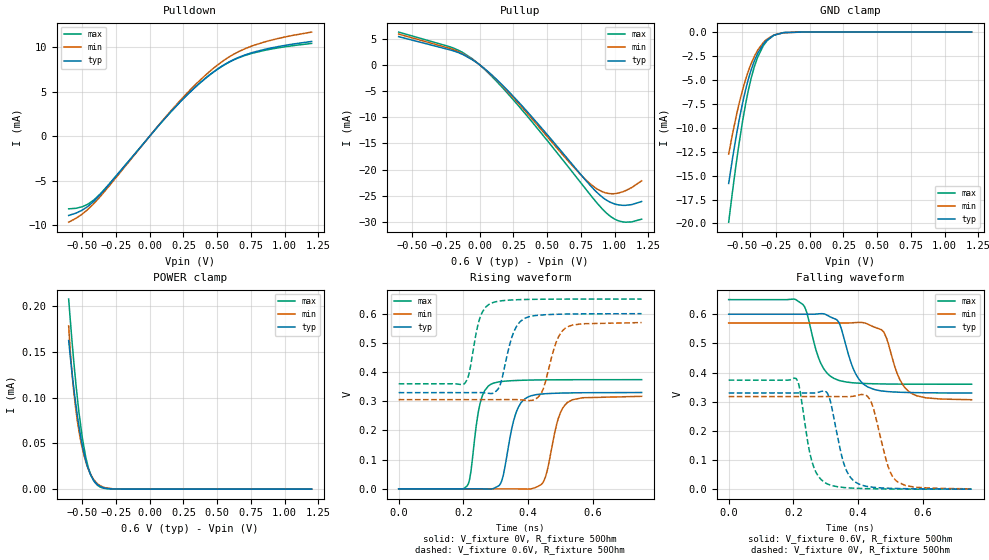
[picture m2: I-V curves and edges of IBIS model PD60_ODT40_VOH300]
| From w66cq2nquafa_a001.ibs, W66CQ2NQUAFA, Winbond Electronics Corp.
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[Model]   PD60_ODT40_VOH300
Model_type   I/O
Polarity   Non-Inverting
Enable   Active-Low
Vinl = 0.08
Vinh = 0.22
Vmeas = 0.15
Vref = 0
Cref = 0pF
Rref = 40
|   typ   min   max
C_comp   0.85pF   0.80pF   0.90pF
[Voltage Range]   0.6   0.57   0.65
[Temperature Range]   25   95   -40
[Pullup Reference]   0.6   0.57   0.65
[Pulldown Reference]   0   0   0
[Power Clamp Reference]   0.6   0.57   0.65
[GND Clamp Reference]   0   0   0
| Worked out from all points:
|   slope of the pulldown table from 0 to 0.09 V, typ, clamps not added: 56.1 ohm
|   slope of the pullup table from 0 to 0.09 V, typ, clamps not added: 46.4 ohm
|   GND clamp passes 1 mA (typ) near -0.33 V on its own axis
|   falling waveform, V_fixture 0.6V, R_fixture 50Ohm: 20-80 % time 49.4ps typ, 49.3ps min, 46.6ps max; typ from 0.6 V to 0.33 V
|   rising waveform, V_fixture 0V, R_fixture 50Ohm: 20-80 % time 37.1ps typ, 38.2ps min, 28.2ps max; typ from 0 V to 0.33 V
|   rising waveform, V_fixture 0.6V, R_fixture 50Ohm: 20-80 % time 38.5ps typ, 40.9ps min, 31.6ps max; typ from 0.33 V to 0.6 V
|   falling waveform, V_fixture 0V, R_fixture 50Ohm: 20-80 % time 41.6ps typ, 44.5ps min, 37.4ps max; typ from 0.33 V to 0 V
[Pulldown]
|   Voltage   I(typ)   I(min)   I(max)
-600mV    -8.908mA   -9.665mA   -8.165mA
-498.6mV  -8.298mA   -8.738mA   -7.921mA
-455.7mV  -7.864mA   -8.195mA   -7.621mA
-409.8mV  -7.258mA   -7.511mA   -7.12mA
-299mV    -5.412mA   -5.579mA   -5.357mA
156mV     2.728mA    2.824mA    2.722mA
332.7mV   5.45mA     5.701mA    5.432mA
502.4mV   7.547mA    7.991mA    7.516mA
621.5mV   8.603mA    9.202mA    8.562mA
771.5mV   9.446mA    10.21mA    9.365mA
954mV     10.08mA    10.99mA    9.934mA
1.2V      10.65mA    11.7mA     10.43mA
[GND Clamp]
|   Voltage   I(typ)   I(min)   I(max)
-600mV    -15.82mA   -12.76mA   -19.87mA
-545.4mV  -10.99mA   -8.878mA   -13.87mA
-498mV    -7.488mA   -6.099mA   -9.397mA
-473.9mV  -5.994mA   -4.923mA   -7.467mA
-433.6mV  -3.96mA    -3.309mA   -4.825mA
-388.1mV  -2.324mA   -1.964mA   -2.725mA
-343.9mV  -1.284mA   -1.115mA   -1.434mA
-314.6mV  -817.7uA   -726.3uA   -883uA
-267.6mV  -337.3uA   -326.2uA   -356.5uA
-196.3mV  -70.97uA   -82.38uA   -56.49uA
-59.4mV   -1.421uA   -3.113uA   -404nA
1.2V      0A         0A         0A
[Pullup]
|   Voltage   I(typ)   I(min)   I(max)
-600mV    5.379mA    5.87mA     6.249mA
-196.3mV  2.676mA    2.911mA    3.222mA
-120.6mV  1.917mA    2.041mA    2.273mA
-2mV      37.1uA     37.93uA    45.13uA
123mV     -2.729mA   -2.841mA   -3.089mA
294.4mV   -7.285mA   -7.554mA   -8.028mA
745.2mV   -20.83mA   -20.9mA    -22.39mA
871.2mV   -24.43mA   -23.74mA   -26.45mA
953.4mV   -26.06mA   -24.57mA   -28.63mA
1.028V    -26.76mA   -24.49mA   -29.8mA
1.124V    -26.71mA   -23.49mA   -30.01mA
1.2V      -26.11mA   -22.16mA   -29.49mA
[POWER Clamp]
|   Voltage   I(typ)   I(min)   I(max)
-600mV    162.4uA    178.3uA    207.7uA
-579.8mV  133.5uA    134.9uA    169.9uA
-562.4mV  110.8uA    106.7uA    139.9uA
-536.7mV  81.73uA    75.66uA    101.4uA
-524.6mV  69.52uA    64.23uA    84.83uA
-498.6mV  47.67uA    44.41uA    55.86uA
-474.6mV  32uA       30.7uA     35.76uA
-455.7mV  22.7uA     22.54uA    24.16uA
-433mV    14.46uA    15.08uA    14.4uA
-388.1mV  5.264uA    6.043uA    4.414uA
-262.6mV  101.8nA    259nA      11.93nA
1.2V      0A         0A         0A
[Ramp]
R_load = 50
|   typ   min   max
dV/dt_r 1.9798E-01/3.6909E-11   1.9011E-01/3.8165E-11   2.2434E-01/2.8200E-11
dV/dt_f 1.6214E-01/4.9384E-11   1.5799E-01/4.9201E-11   1.7410E-01/4.6618E-11
[Falling Waveform]
V_fixture = 0.6V
V_fixture_min = 0.57V
V_fixture_max = 0.65V
R_fixture = 50Ohm
C_fixture = 0F
|   Time   V(typ)   V(min)   V(max)
0s        600mV      570mV      650mV
229ps     600mV      570mV      633.3mV
285ps     601.8mV    570mV      430.2mV
331ps     582.6mV    570mV      377mV
384ps     414.9mV    570.7mV    364.7mV
421ps     356.4mV    569.8mV    362.3mV
478ps     336.2mV    539.9mV    360.8mV
520ps     332.8mV    397.2mV    360.3mV
556ps     331.5mV    335.1mV    360.1mV
750ps     329.8mV    306.7mV    359.8mV
[Rising Waveform]
V_fixture = 0V
V_fixture_min = 0V
V_fixture_max = 0V
R_fixture = 50Ohm
C_fixture = 0F
|   Time   V(typ)   V(min)   V(max)
0s        5.397uV    17.78uV    1.065uV
211ps     3.899uV    17.78uV    9.963mV
251ps     44.58uV    17.89uV    291.1mV
286ps     -507.6uV   16.9uV     359mV
318ps     26.79mV    19.77uV    367.7mV
354ps     229.7mV    57.66uV    370.7mV
391ps     309.4mV    -621.1uV   372.2mV
447ps     325.3mV    24.42mV    373.2mV
520ps     328.4mV    294.9mV    373.7mV
750ps     330mV      316.9mV    373.9mV
[Rising Waveform]
V_fixture = 0.6V
V_fixture_min = 0.57V
V_fixture_max = 0.65V
R_fixture = 50Ohm
C_fixture = 0F
|   Time   V(typ)   V(min)   V(max)
0s        329.6mV    305.6mV    359.8mV
202ps     329.6mV    305.6mV    359.2mV
251ps     329.8mV    305.6mV    586mV
294ps     328.6mV    305.6mV    639.2mV
314ps     358.4mV    305.6mV    643.6mV
354ps     533.5mV    305.7mV    647.2mV
391ps     584.8mV    303.5mV    648.6mV
442ps     595.6mV    331.4mV    649.4mV
514ps     598.5mV    549.8mV    649.8mV
750ps     599.9mV    569.5mV    650mV
[Falling Waveform]
|Gnd
V_fixture = 0V
V_fixture_min = 0V
V_fixture_max = 0V
R_fixture = 50Ohm
C_fixture = 0F
|   Time   V(typ)   V(min)   V(max)
0s        330mV      317.5mV    373.9mV
208ps     330mV      317.5mV    379.5mV
256ps     329.7mV    317.5mV    99.07mV
303ps     331.7mV    317.5mV    18.73mV
354ps     93.06mV    317.3mV    5.844mV
392ps     23.67mV    320.2mV    3.008mV
436ps     7.897mV    307.5mV    1.532mV
493ps     3.18mV     74.99mV    597.6uV
520ps     2.248mV    26.03mV    385.3uV
750ps     114.2uV    959.8uV    -15.44uV
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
